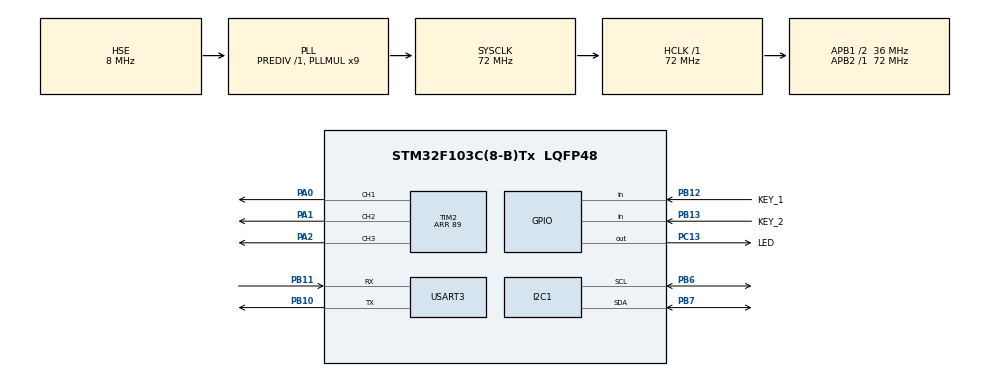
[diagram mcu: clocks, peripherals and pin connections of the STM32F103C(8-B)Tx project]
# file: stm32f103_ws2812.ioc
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Dma.I2C1_TX.1.Direction=DMA_MEMORY_TO_PERIPH
Dma.I2C1_TX.1.Instance=DMA1_Channel6
Dma.I2C1_TX.1.MemDataAlignment=DMA_MDATAALIGN_BYTE
Dma.I2C1_TX.1.MemInc=DMA_MINC_ENABLE
Dma.I2C1_TX.1.Mode=DMA_NORMAL
Dma.I2C1_TX.1.PeriphDataAlignment=DMA_PDATAALIGN_BYTE
Dma.I2C1_TX.1.PeriphInc=DMA_PINC_DISABLE
Dma.I2C1_TX.1.Priority=DMA_PRIORITY_HIGH
Dma.Request0=TIM2_CH1
Dma.Request1=I2C1_TX
Dma.Request2=USART3_RX
Dma.Request3=USART3_TX
Dma.Request4=TIM2_CH2/CH4
Dma.Request5=TIM2_CH3
Dma.TIM2_CH1.0.Direction=DMA_MEMORY_TO_PERIPH
Dma.TIM2_CH1.0.Instance=DMA1_Channel5
Dma.TIM2_CH1.0.MemDataAlignment=DMA_MDATAALIGN_BYTE
Dma.TIM2_CH1.0.MemInc=DMA_MINC_ENABLE
Dma.TIM2_CH1.0.Mode=DMA_NORMAL
Dma.TIM2_CH1.0.PeriphDataAlignment=DMA_PDATAALIGN_HALFWORD
Dma.TIM2_CH1.0.PeriphInc=DMA_PINC_DISABLE
Dma.TIM2_CH1.0.Priority=DMA_PRIORITY_MEDIUM
Dma.TIM2_CH2/CH4.4.Direction=DMA_MEMORY_TO_PERIPH
Dma.TIM2_CH2/CH4.4.Instance=DMA1_Channel7
Dma.TIM2_CH2/CH4.4.MemDataAlignment=DMA_MDATAALIGN_BYTE
Dma.TIM2_CH2/CH4.4.MemInc=DMA_MINC_ENABLE
Dma.TIM2_CH2/CH4.4.Mode=DMA_NORMAL
Dma.TIM2_CH2/CH4.4.PeriphDataAlignment=DMA_PDATAALIGN_HALFWORD
Dma.TIM2_CH2/CH4.4.PeriphInc=DMA_PINC_DISABLE
Dma.TIM2_CH2/CH4.4.Priority=DMA_PRIORITY_MEDIUM
Dma.TIM2_CH3.5.Direction=DMA_MEMORY_TO_PERIPH
Dma.TIM2_CH3.5.Instance=DMA1_Channel1
Dma.TIM2_CH3.5.MemDataAlignment=DMA_MDATAALIGN_BYTE
Dma.TIM2_CH3.5.MemInc=DMA_MINC_ENABLE
Dma.TIM2_CH3.5.Mode=DMA_NORMAL
Dma.TIM2_CH3.5.PeriphDataAlignment=DMA_PDATAALIGN_HALFWORD
Dma.TIM2_CH3.5.PeriphInc=DMA_PINC_DISABLE
Dma.TIM2_CH3.5.Priority=DMA_PRIORITY_MEDIUM
Dma.USART3_RX.2.Direction=DMA_PERIPH_TO_MEMORY
Dma.USART3_RX.2.Instance=DMA1_Channel3
Dma.USART3_RX.2.MemDataAlignment=DMA_MDATAALIGN_BYTE
Dma.USART3_RX.2.MemInc=DMA_MINC_ENABLE
Dma.USART3_RX.2.Mode=DMA_NORMAL
Dma.USART3_RX.2.PeriphDataAlignment=DMA_PDATAALIGN_BYTE
Dma.USART3_RX.2.PeriphInc=DMA_PINC_DISABLE
Dma.USART3_RX.2.Priority=DMA_PRIORITY_VERY_HIGH
Dma.USART3_TX.3.Direction=DMA_MEMORY_TO_PERIPH
Dma.USART3_TX.3.Instance=DMA1_Channel2
Dma.USART3_TX.3.MemDataAlignment=DMA_MDATAALIGN_BYTE
Dma.USART3_TX.3.MemInc=DMA_MINC_ENABLE
Dma.USART3_TX.3.Mode=DMA_NORMAL
Dma.USART3_TX.3.PeriphDataAlignment=DMA_PDATAALIGN_BYTE
Dma.USART3_TX.3.PeriphInc=DMA_PINC_DISABLE
Dma.USART3_TX.3.Priority=DMA_PRIORITY_VERY_HIGH
I2C1.I2C_Mode=I2C_Fast
Mcu.Family=STM32F1
Mcu.Name=STM32F103C(8-B)Tx
Mcu.Package=LQFP48
NVIC.DMA1_Channel1_IRQn=true\:0\:0\:false\:false\:true\:false\:true\:true
NVIC.DMA1_Channel2_IRQn=true\:0\:0\:false\:false\:true\:false\:true\:true
NVIC.DMA1_Channel3_IRQn=true\:0\:0\:false\:false\:true\:false\:true\:true
NVIC.DMA1_Channel5_IRQn=true\:1\:0\:true\:false\:true\:false\:true\:true
NVIC.DMA1_Channel6_IRQn=true\:0\:0\:false\:false\:true\:false\:true\:true
NVIC.DMA1_Channel7_IRQn=true\:0\:0\:false\:false\:true\:false\:true\:true
NVIC.I2C1_ER_IRQn=true\:0\:0\:false\:false\:true\:true\:true\:true
NVIC.I2C1_EV_IRQn=true\:0\:0\:false\:false\:true\:true\:true\:true
NVIC.PriorityGroup=NVIC_PRIORITYGROUP_4
NVIC.TIM1_BRK_IRQn=true\:0\:0\:false\:false\:true\:true\:true\:true
NVIC.TIM1_CC_IRQn=true\:0\:0\:false\:false\:true\:true\:true\:true
NVIC.TIM1_TRG_COM_IRQn=true\:0\:0\:false\:false\:true\:true\:true\:true
NVIC.TIM1_UP_IRQn=true\:0\:0\:false\:false\:true\:true\:true\:true
NVIC.USART3_IRQn=true\:0\:0\:false\:false\:true\:true\:true\:true
PA0-WKUP.Signal=S_TIM2_CH1_ETR
PA1.Signal=S_TIM2_CH2
PA13.Mode=Serial_Wire
PA13.Signal=SYS_JTMS-SWDIO
PA14.Mode=Serial_Wire
PA14.Signal=SYS_JTCK-SWCLK
PA2.Signal=S_TIM2_CH3
PB10.Mode=Asynchronous
PB10.Signal=USART3_TX
PB11.Mode=Asynchronous
PB11.Signal=USART3_RX
PB12.GPIO_Label=KEY_1
PB12.GPIO_PuPd=GPIO_PULLUP
PB12.Signal=GPIO_Input
PB13.GPIO_Label=KEY_2
PB13.GPIO_PuPd=GPIO_PULLUP
PB13.Signal=GPIO_Input
PB6.Mode=I2C
PB6.Signal=I2C1_SCL
PB7.Mode=I2C
PB7.Signal=I2C1_SDA
PC13-TAMPER-RTC.GPIO_Label=LED
PC13-TAMPER-RTC.GPIO_PuPd=GPIO_NOPULL
PC13-TAMPER-RTC.Signal=GPIO_Output
PD0-OSC_IN.Mode=HSE-External-Oscillator
PD0-OSC_IN.Signal=RCC_OSC_IN
PD1-OSC_OUT.Mode=HSE-External-Oscillator
PD1-OSC_OUT.Signal=RCC_OSC_OUT
ProjectManager.HeapSize=0x200
ProjectManager.StackSize=0x400
ProjectManager.TargetToolchain=STM32CubeIDE
RCC.AHBFreq_Value=72000000
RCC.APB1CLKDivider=RCC_HCLK_DIV2
RCC.APB1Freq_Value=36000000
RCC.APB1TimFreq_Value=72000000
RCC.APB2Freq_Value=72000000
RCC.APB2TimFreq_Value=72000000
RCC.HCLKFreq_Value=72000000
RCC.PLLMUL=RCC_PLL_MUL9
RCC.PLLSourceVirtual=RCC_PLLSOURCE_HSE
RCC.SYSCLKFreq_VALUE=72000000
RCC.SYSCLKSource=RCC_SYSCLKSOURCE_PLLCLK
RCC.USBFreq_Value=72000000
SH.S_TIM2_CH1_ETR.0=TIM2_CH1,PWM Generation1 CH1
SH.S_TIM2_CH2.0=TIM2_CH2,PWM Generation2 CH2
SH.S_TIM2_CH3.0=TIM2_CH3,PWM Generation3 CH3
TIM1.AutoReloadPreload=TIM_AUTORELOAD_PRELOAD_ENABLE
TIM1.Period=99
TIM1.Prescaler=71
TIM2.Channel-PWM\ Generation1\ CH1=TIM_CHANNEL_1
TIM2.Channel-PWM\ Generation2\ CH2=TIM_CHANNEL_2
TIM2.Channel-PWM\ Generation3\ CH3=TIM_CHANNEL_3
TIM2.CounterMode=TIM_COUNTERMODE_UP
TIM2.Period=89
USART3.VirtualMode=VM_ASYNC
VP_TIM1_VS_ClockSourceINT.Mode=Internal
board=custom

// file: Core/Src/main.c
/* USER CODE BEGIN Header */
/**
 ******************************************************************************
 * @file           : main.c
 * @brief          : Main program body
 ******************************************************************************
 * @attention
 *
 * Copyright (c) 2024 STMicroelectronics.
 * All rights reserved.
 *
 * This software is licensed under terms that can be found in the LICENSE file
 * in the root directory of this software component.
 * If no LICENSE file comes with this software, it is provided AS-IS.
 *
 ******************************************************************************
 */
/* USER CODE END Header */
#include "main.h"
#include "dma.h"
#include "i2c.h"
#include "tim.h"
#include "usart.h"
#include "gpio.h"

/* USER CODE BEGIN Includes */
#include "oled.h"
#include "WS2812.h"
#include "string.h"
#include "SEGGER_RTT.h"
/* USER CODE END Includes */

/* USER CODE BEGIN PTD */
#define LOG(fmt, ...) SEGGER_RTT_printf(0, fmt "\r\n%s", \
                          ##__VA_ARGS__,                          \
                          RTT_CTRL_RESET)
uint8_t receive_buf[255];
/* USER CODE END PTD */

void SystemClock_Config(void);
/* USER CODE BEGIN PFP */
void Image_Display_with_Blocks(uint16_t led_block[][2], uint16_t block_num, uint8_t color);
void Image_Display_with_LED_Num(uint16_t leds_num, uint8_t color);
/* USER CODE END PFP */

/* USER CODE BEGIN 0 */
void HAL_TIM_PeriodElapsedCallback(TIM_HandleTypeDef *htim)
{
  /* Prevent unused argument(s) compilation warning */
  UNUSED(htim);

  /* NOTE : This function should not be modified, when the callback is needed,
            the HAL_TIM_PeriodElapsedCallback could be implemented in the user file
   */
}
void HAL_UARTEx_RxEventCallback(UART_HandleTypeDef *huart, uint16_t Size)
{
  /* Prevent unused argument(s) compilation warning */
  UNUSED(huart);
  const uint8_t c[] = "Receive.";
  HAL_UART_Transmit(&huart3, c, sizeof(c), 10);

  WS2812_Decoder(receive_buf);

  HAL_UARTEx_ReceiveToIdle_DMA(&huart3, receive_buf, sizeof(receive_buf));
  __HAL_DMA_DISABLE_IT((&huart3)->hdmarx, DMA_IT_HT);
  // HAL_UARTEx_ReceiveToIdle_DMA(&huart3, receive_buf, 255);

  /* NOTE: This function should not be modified, when the callback is needed,
           the HAL_UART_RxCpltCallback could be implemented in the user file
   */
}
/* USER CODE END 0 */

int main(void)
{

  /* MCU Configuration--------------------------------------------------------*/

  /* Reset of all peripherals, Initializes the Flash interface and the Systick. */
  HAL_Init();

  /* Configure the system clock */
  SystemClock_Config();

  /* Initialize all configured peripherals */
  MX_GPIO_Init();
  MX_DMA_Init();
  MX_TIM2_Init();
  MX_I2C1_Init();
  MX_TIM1_Init();
  MX_USART3_UART_Init();
  /* USER CODE BEGIN 2 */
  const uint8_t c[] = "start.";
  // HAL_TIM_Base_Start_IT(&htim1);
  HAL_UARTEx_ReceiveToIdle_DMA(&huart3, receive_buf, sizeof(receive_buf));
  __HAL_DMA_DISABLE_IT((&huart3)->hdmarx, DMA_IT_HT);
  HAL_UART_Transmit(&huart3, c, sizeof(c), 10);

  HAL_GPIO_WritePin(LED_GPIO_Port, LED_Pin,GPIO_PIN_RESET);
  HAL_Delay(1000);
  HAL_GPIO_WritePin(LED_GPIO_Port, LED_Pin,GPIO_PIN_SET);
  HAL_Delay(1000);

  // OLED_Init();

  /* USER CODE END 2 */

  /* Infinite loop */
  /* USER CODE BEGIN WHILE */
  WS2812_INIT();
  HAL_Delay(100);
  WS2812_Turn_Off(10000, 0);
  WS2812_Turn_Off(10000, 1);
  WS2812_Turn_Off(10000, 2);
  // WS2812_Test_Colorful(100, 0x00FF00, 0);

  HAL_GPIO_WritePin(LED_GPIO_Port, LED_Pin,GPIO_PIN_RESET);

  while (1) {
    static uint16_t pos = 1,last_pos = 1;
    if(HAL_GPIO_ReadPin(KEY_1_GPIO_Port, KEY_1_Pin) == GPIO_PIN_RESET ||
        HAL_GPIO_ReadPin(KEY_2_GPIO_Port, KEY_2_Pin) == GPIO_PIN_RESET)
    {
      HAL_Delay(100);
      if(HAL_GPIO_ReadPin(KEY_1_GPIO_Port, KEY_1_Pin) == GPIO_PIN_RESET)  pos++;
      else if(HAL_GPIO_ReadPin(KEY_2_GPIO_Port, KEY_2_Pin) == GPIO_PIN_RESET)  pos--;
      if(pos == 0)  pos = 1;
        // OLED_ShowChar(10, 10, (pos/1000%10)+'0', 12);
        // OLED_ShowChar(20, 10, (pos/100%10)+'0', 12);
        // OLED_ShowChar(30, 10, (pos/10%10)+'0', 12);
        // OLED_ShowChar(40, 10, (pos/1%10)+'0', 12);
        // OLED_Refresh();
    }
    else if(last_pos != pos)
    {
      last_pos = pos;
      WS2812_Test_Position(pos , 0xFF0000,1000, 0);
      // WS2812_Test_Position(pos , 0xFF0000,1000, 1);
      WS2812_Test_Position(pos , 0xFF0000,1000, 2);
    }
    /* USER CODE END WHILE */

    /* USER CODE BEGIN 3 */
    WS2812_Detect();

  }
  /* USER CODE END 3 */
}

void SystemClock_Config(void)
{
  RCC_OscInitTypeDef RCC_OscInitStruct = {0};
  RCC_ClkInitTypeDef RCC_ClkInitStruct = {0};

  /** Initializes the RCC Oscillators according to the specified parameters
  * in the RCC_OscInitTypeDef structure.
  */
  RCC_OscInitStruct.OscillatorType = RCC_OSCILLATORTYPE_HSE;
  RCC_OscInitStruct.HSEState = RCC_HSE_ON;
  RCC_OscInitStruct.HSEPredivValue = RCC_HSE_PREDIV_DIV1;
  RCC_OscInitStruct.HSIState = RCC_HSI_ON;
  RCC_OscInitStruct.PLL.PLLState = RCC_PLL_ON;
  RCC_OscInitStruct.PLL.PLLSource = RCC_PLLSOURCE_HSE;
  RCC_OscInitStruct.PLL.PLLMUL = RCC_PLL_MUL9;
  if (HAL_RCC_OscConfig(&RCC_OscInitStruct) != HAL_OK)
  {
    Error_Handler();
  }

  /** Initializes the CPU, AHB and APB buses clocks
  */
  RCC_ClkInitStruct.ClockType = RCC_CLOCKTYPE_HCLK|RCC_CLOCKTYPE_SYSCLK
                              |RCC_CLOCKTYPE_PCLK1|RCC_CLOCKTYPE_PCLK2;
  RCC_ClkInitStruct.SYSCLKSource = RCC_SYSCLKSOURCE_PLLCLK;
  RCC_ClkInitStruct.AHBCLKDivider = RCC_SYSCLK_DIV1;
  RCC_ClkInitStruct.APB1CLKDivider = RCC_HCLK_DIV2;
  RCC_ClkInitStruct.APB2CLKDivider = RCC_HCLK_DIV1;

  if (HAL_RCC_ClockConfig(&RCC_ClkInitStruct, FLASH_LATENCY_2) != HAL_OK)
  {
    Error_Handler();
  }
}

/* USER CODE BEGIN 4 */
void Image_Display_with_Blocks(uint16_t led_block[][2], uint16_t block_num, uint8_t color){
    // HAL_GPIO_WritePin(LED_GPIO_Port, LED_Pin,GPIO_PIN_SET);

    // uint8_t buffer_selector = 0;
    // uint8_t transimit_start_flag = 0;
    // uint16_t block_offset = 0;

    // WS2812_Clear(buffer_selector);
    // for(uint8_t i = 0; i <= block_num; i++){
    //     uint8_t empty_block_num = led_block[i][0] / LED_NUM_SINGLE_FRAME - block_offset;
    //     while(empty_block_num){
    //         WS2812_Clear(buffer_selector);
    //         WS2812_transmit_flag[buffer_selector] = Ready;
    //         if(!transimit_start_flag){
    //             transimit_start_flag = 1;
    //             WS2812_Start(buffer_selector);
    //         }
    //         buffer_selector = (buffer_selector+1)%WS2812_BUFFER_NUM;
    //         block_offset++;
    //         while(WS2812_transmit_flag[buffer_selector] != Free);

    //         empty_block_num--;
    //     }

    //     uint16_t led_block_start_idx = led_block[i][0] - block_offset * WS2812_BUFFER_NUM;
    //     uint16_t led_block_end_idx = led_block[i][1] - block_offset * WS2812_BUFFER_NUM;

    //     for (uint16_t j = led_block_start_idx; j < led_block_end_idx; j++){
    //         uint8_t idx_builking = 0;
    //         switch(color){
    //             case 'R':WS2812_Set(buffer_selector, j - idx_builking, 0xFF0000);break;
    //             case 'B':WS2812_Set(buffer_selector, j - idx_builking, 0x0000FF);break;
    //             case 'G':WS2812_Set(buffer_selector, j - idx_builking, 0x00FF00);break;
    //             default:WS2812_Set(buffer_selector, j - idx_builking, 0x000000);break;
    //         }
    //         if (j > (idx_builking+1) * LED_NUM_SINGLE_FRAME){
    //             idx_builking++;

    //             WS2812_transmit_flag[buffer_selector] = Ready;
    //             buffer_selector = (buffer_selector+1)%WS2812_BUFFER_NUM;
    //             block_offset++;
    //             while(WS2812_transmit_flag[buffer_selector] != Free);
    //         }
    //     }
    // }
    // WS2812_transmit_flag[buffer_selector] = Ready;

    // HAL_GPIO_WritePin(LED_GPIO_Port, LED_Pin,GPIO_PIN_RESET);
}

/* USER CODE END 4 */

void Error_Handler(void)
{
    __disable_irq();
    while (1) {
    }
}
